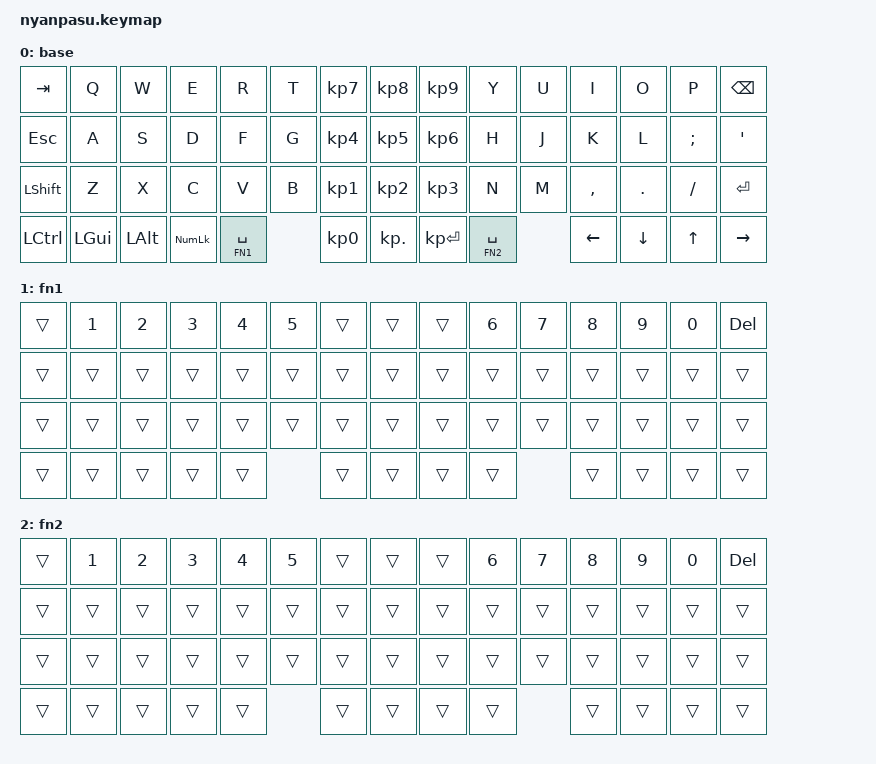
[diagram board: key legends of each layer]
#include <behaviors.dtsi>
#include <dt-bindings/zmk/keys.h>

#define BASE 0
#define FN1  1
#define FN2  2

/ {
  keymap {
    compatible = "zmk,keymap";

    base {
      bindings = <
&kp TAB   &kp Q     &kp W    &kp E     &kp R      &kp T      &kp KP_N7 &kp KP_N8 &kp KP_N9       &kp Y     &kp U     &kp I     &kp O     &kp P    &kp BSPC
&kp ESC   &kp A     &kp S    &kp D     &kp F      &kp G      &kp KP_N4 &kp KP_N5 &kp KP_N6       &kp H     &kp J     &kp K     &kp L     &kp SEMI &kp SQT
&kp LSHFT &kp Z     &kp X    &kp C     &kp V      &kp B      &kp KP_N1 &kp KP_N2 &kp KP_N3       &kp N     &kp M     &kp COMMA &kp DOT   &kp FSLH &kp ENTER
&kp LCTRL &kp LGUI  &kp LALT &kp KP_NLCK   &lt FN1 SPACE     &kp KP_N0 &kp KP_DOT &kp KP_ENTER     &lt FN2 SPACE     &kp LEFT  &kp DOWN  &kp UP   &kp RIGHT
      >;
    };

    fn1 {
      bindings = <
&trans    &kp N1    &kp N2    &kp N3    &kp N4    &kp N5      &trans  &trans  &trans            &kp N6    &kp N7    &kp N8    &kp N9    &kp N0    &kp DEL
&trans    &trans    &trans    &trans    &trans    &trans      &trans  &trans  &trans            &trans    &trans    &trans    &trans    &trans    &trans
&trans    &trans    &trans    &trans    &trans    &trans      &trans  &trans  &trans            &trans    &trans    &trans    &trans    &trans    &trans
&trans    &trans    &trans    &trans        &trans            &trans  &trans  &trans                  &trans        &trans    &trans    &trans    &trans
      >;
    };

    fn2 {
      bindings = <
&trans    &kp N1    &kp N2    &kp N3    &kp N4    &kp N5      &trans  &trans  &trans            &kp N6    &kp N7    &kp N8    &kp N9    &kp N0    &kp DEL
&trans    &trans    &trans    &trans    &trans    &trans      &trans  &trans  &trans            &trans    &trans    &trans    &trans    &trans    &trans
&trans    &trans    &trans    &trans    &trans    &trans      &trans  &trans  &trans            &trans    &trans    &trans    &trans    &trans    &trans
&trans    &trans    &trans    &trans        &trans            &trans  &trans  &trans                  &trans        &trans    &trans    &trans    &trans
      >;
    };
  };
};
